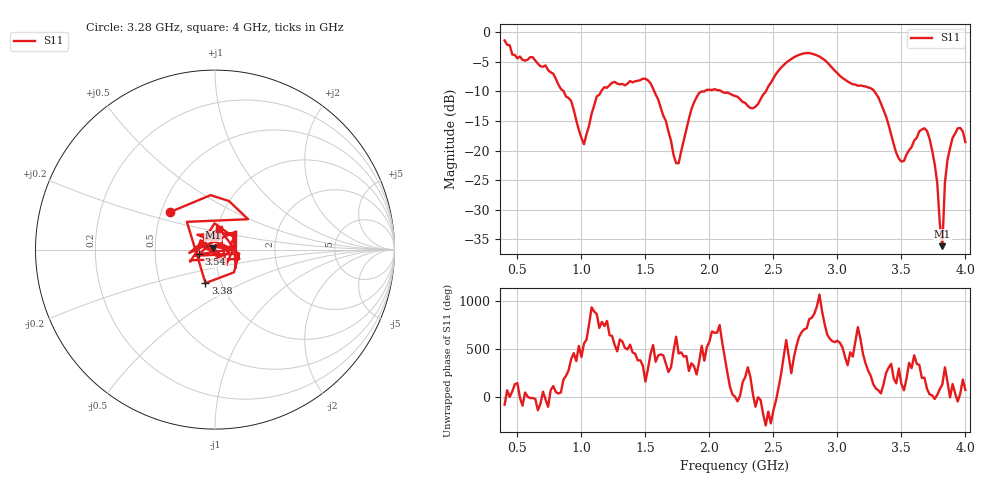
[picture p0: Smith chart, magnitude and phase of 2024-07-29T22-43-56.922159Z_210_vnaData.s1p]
!Created with skrf (http://scikit-rf.org).
# Hz S RI R 50.0
!freq ReS11 ImS11
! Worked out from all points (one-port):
!   181 points, 400 MHz to 4 GHz, reference 50 ohm
!   lowest |S11| = -36.2 dB at 3.82 GHz (marker M1), VSWR 1.03, Z = 48.9 + j1.05 ohm
!   |S11| at or under -10 dB: 1.57 GHz to 1.961 GHz (391.4 MHz wide, 22.2 % of centre); 2.095 GHz to 2.441 GHz (346 MHz wide, 15.3 % of centre); 3.289 GHz to end of sweep (the widest 3 of 4)
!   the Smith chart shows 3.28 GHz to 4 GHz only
!   S11 on the Smith chart (normalised r, x): 3.28 GHz: 0.56, +0.26; 3.38 GHz: 0.84, -0.33; 3.54 GHz: 0.84, -0.04; 4 GHz: 1.02, +0.24
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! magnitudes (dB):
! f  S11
! 400 MHz  -1.4
! 720 MHz  -5.6
! 860 MHz  -9.9
! 920 MHz  -11.6
! 1.02 GHz  -19.0
! 1.12 GHz  -10.8
! 1.3 GHz  -8.8
! 1.54 GHz  -8.6
! 1.76 GHz  -22.1
! 1.86 GHz  -13.0
! 1.92 GHz  -10.3
! 2.2 GHz  -10.8
! 2.36 GHz  -12.6
! 2.66 GHz  -4.2
! 2.84 GHz  -3.9
! 3.1 GHz  -8.6
! 3.28 GHz  -9.7
! 3.38 GHz  -14.2
! 3.48 GHz  -21.4
! 3.54 GHz  -20.7
! 3.56 GHz  -19.9
! 3.7 GHz  -16.7
! 3.78 GHz  -25.5
! 3.82 GHz  -36.2
! 3.84 GHz  -25.5
! 3.88 GHz  -19.6
! 3.94 GHz  -16.2
! 4 GHz  -18.6
